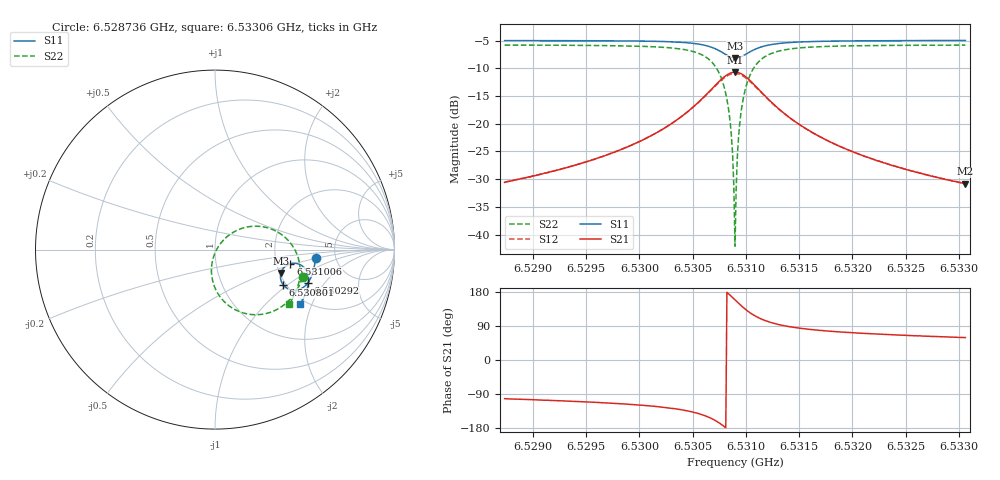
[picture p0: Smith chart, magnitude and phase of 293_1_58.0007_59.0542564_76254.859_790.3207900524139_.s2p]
#  HZ  S  RI  R  50.00
! Rohde & Schwarz Vector Network Analyzer
! Rohde-Schwarz,ZNB20-2Port,1311601062101988,3.16
! Created: UTC 3/21/2024, 1:03:21 AM
! freq[Hz]  re:S11  im:S11  re:S21  im:S21  re:S12  im:S12  re:S22  im:S22
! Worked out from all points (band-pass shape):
!   401 points, 6.528736 GHz to 6.53306 GHz, reference 50 ohm
!   highest |S21| = -10.69 dB at 6.530898 GHz (marker M1); lowest = -30.8 dB at 6.53306 GHz (marker M2)
!   |S21| within 3 dB of the highest: 6.530682 GHz to 6.531115 GHz (432.7 kHz wide, 0.00663 % of centre)
!   lowest |S11| = -8.2 dB at 6.530898 GHz (marker M3), VSWR 2.28, Z = 102 - j31.1 ohm
!   |S11| at or under -10 dB: nowhere
!   |S22| runs from -42.1 to -5.8 dB; largest |S21 - S12| = 0.011
!   S11 on the Smith chart (normalised r, x): 6.528736 GHz: 3.50, -0.46; 6.530292 GHz: 2.59, -1.39; 6.530801 GHz: 1.93, -0.93; 6.531006 GHz: 2.39, -0.46; 6.53306 GHz: 1.85, -1.65
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6.5287356e9  0.56 -0.0446  -0.00616 -0.0289  -0.00687 -0.029  0.4885 -0.1544
6.52946e9  0.551 -0.1044  -0.0151 -0.0414  -0.016 -0.0412  0.4593 -0.2196
6.5301844e9  0.5244 -0.1751  -0.047 -0.0712  -0.049 -0.0699  0.3815 -0.3103
6.5302925e9  0.5155 -0.1879  -0.0595 -0.0789  -0.0616 -0.0772  0.3553 -0.3278
6.5306384e9  0.4492 -0.2265  -0.1611 -0.0952  -0.1633 -0.0885  0.1641 -0.3547
6.5307357e9  0.4084 -0.2195  -0.224 -0.0666  -0.223 -0.0575  0.0593 -0.2973
6.5308006e9  0.3797 -0.196  -0.2657 -0.0165  -0.2606 -0.00723  -0.00299 -0.2063
6.5308439e9  0.3669 -0.1695  -0.2813 0.034  -0.2733 0.0416  -0.0202 -0.1202
6.5308655e9  0.3647 -0.1539  -0.2819 0.0625  -0.2728 0.0688  -0.0164 -0.0732
6.5308763e9  0.3649 -0.1459  -0.2802 0.0772  -0.2705 0.0827  -0.011 -0.0496
6.5308871e9  0.3658 -0.1379  -0.277 0.0917  -0.267 0.0962  -0.00318 -0.0265
6.5308979e9  0.3676 -0.1298  -0.2723 0.1059  -0.2622 0.1095  0.00673 -0.00407
6.5309087e9  0.3703 -0.1221  -0.2661 0.1195  -0.2562 0.1221  0.019 0.0172
6.5309195e9  0.3739 -0.1148  -0.2588 0.1323  -0.2488 0.1343  0.0331 0.037
6.5309303e9  0.3782 -0.108  -0.2505 0.1445  -0.2406 0.1455  0.0493 0.0553
6.530952e9  0.3885 -0.096  -0.2305 0.1654  -0.2215 0.1648  0.085 0.0859
6.531006e9  0.4199 -0.0786  -0.1731 0.1962  -0.1669 0.1936  0.1846 0.1269
6.5310817e9  0.4608 -0.0786  -0.1015 0.1987  -0.0982 0.1959  0.305 0.1176
6.5311898e9  0.4965 -0.1003  -0.0397 0.1696  -0.0379 0.1681  0.4049 0.0541
6.5316223e9  0.5214 -0.1788  0.0143 0.0822  0.0152 0.0819  0.4743 -0.1298
6.5323467e9  0.502 -0.2511  0.0167 0.0394  0.0175 0.0391  0.4465 -0.2441
6.5330602e9  0.4749 -0.3038  0.0147 0.0247  0.0152 0.0244  0.4115 -0.3048
